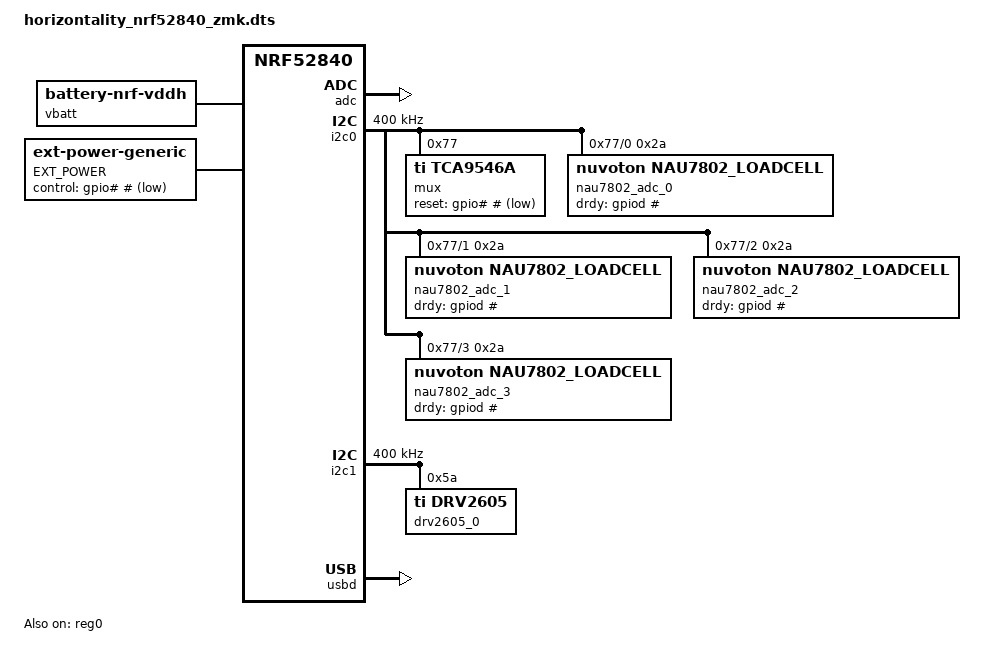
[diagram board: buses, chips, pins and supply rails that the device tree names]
/*
 * Copyright (c) 2021 The ZMK Contributors
 *
 * SPDX-License-Identifier: MIT
 */

/dts-v1/;
#include <nordic/nrf52840_qiaa.dtsi>
#include <common/nordic/nrf52840_uf2_boot_mode.dtsi>

#define OUTPUT_SOURCE_LAYER_STATE_CHANGE        1
#define OUTPUT_SOURCE_POSITION_STATE_CHANGE     2
#define OUTPUT_SOURCE_KEYCODE_STATE_CHANGE      3
#define OUTPUT_SOURCE_MOUSE_BUTTON_STATE_CHANGE 4
#define OUTPUT_SOURCE_MOUSE_WHEEL_STATE_CHANGE  5
#define OUTPUT_SOURCE_TRANSPORT                 6

/ {
    chosen {
        zmk,battery = &vbatt;
    };

    vbatt: vbatt {
        compatible = "zmk,battery-nrf-vddh";
    };

    EXT_POWER {
        compatible = "zmk,ext-power-generic";
        control-gpios = <&gpio# # GPIO_ACTIVE_LOW>;
        init-delay-ms = <50>;
    };

    lra0: output_haptic_fb_0 {
		compatible = "zmk,output-haptic-feedback";
		#binding-cells = <0>;

		driver = "drv2605";
		device = <&drv2605_0>;
	};

    ob_lra0_in {
            compatible = "zmk,output-behavior-generic"; #binding-cells = <0>;
            device = <&lra0>;

            /* Sharp Click - 100% */
            force = <4>;
    };

    ob_lra0_out {
            compatible = "zmk,output-behavior-generic"; #binding-cells = <0>;
            device = <&lra0>;

            /* Soft Bump - 60% */
            force = <8>;
    };

    obl__btn1_in {
        compatible = "zmk,output-behavior-listener";
        layers = < DEFAULT >;
        sources = < OUTPUT_SOURCE_MOUSE_BUTTON_STATE_CHANGE >;

        position = < 1 >;
        bindings = < &ob_lra_in >;

        all-state;
    }

    obl__btn1_out {
        compatible = "zmk,output-behavior-listener";
        layers = < DEFAULT >;
        sources = < OUTPUT_SOURCE_MOUSE_BUTTON_STATE_CHANGE >;

        position = < 0 >;
        bindings = < &ob_lra_out >;

        all-state;
    }

    aliases {
        nau7802_adc_0 = &nau7802_adc_0;
        nau7802_adc_1 = &nau7802_adc_1;
        nau7802_adc_2 = &nau7802_adc_2;
        nau7802_adc_3 = &nau7802_adc_3;
    }
};

&pinctrl {
    i2c0_default: i2c0_default {
        group1 {
            psels = <NRF_PSEL(TWIM_SDA, #, #)>,
                    <NRF_PSEL(TWIM_SCL, #, #)>;
        };
    };

    i2c0_sleep: i2c0_sleep {
        group1 {
            psels = <NRF_PSEL(TWIM_SDA, #, #)>,
                    <NRF_PSEL(TWIM_SCL, #, #)>;
            low-power-enable;
        };
    };

    i2c1_default: i2c1_default {
        group1 {
            psels = <NRF_PSEL(TWIM_SDA, #, #)>,
                    <NRF_PSEL(TWIM_SCL, #, #)>;
        };
    };

    i2c1_sleep: i2c1_sleep {
        group1 {
            psels = <NRF_PSEL(TWIM_SDA, #, #)>,
                    <NRF_PSEL(TWIM_SCL, #, #)>;
            low-power-enable;
        };
    };
};

&reg0 {
    status = "okay";
};

&reg1 {
    regulator-initial-mode = <NRF5X_REG_MODE_DCDC>;
};

&adc {
    status = "okay";
};

&gpiote {
    status = "okay";
};

&gpio0 {
    status = "okay";
};

&gpio1 {
    status = "okay";
};

&i2c0 {
    compatible = "nordic,nrf-twim";
    status = "okay";
    pinctrl-0 = <&i2c0_default>;
    pinctrl-1 = <&i2c0_sleep>;
    pinctrl-names = "default", "sleep";
    clock-frequency = <I2C_BITRATE_FAST>;

    mux: tca9546a@77 {
        compatible = "ti,tca9546a";
        reg = <0x77>;
        status = "okay";
        #address-cells = <1>;
        #size-cells = <0>;
        reset-gpios = <&gpio# # GPIO_ACTIVE_LOW>;

        mux_i2c@0 {
            reg = <0>;
            #address-cells = <1>;
            #size-cells = <0>;

            nau7802_adc_0 {
                compatible = "nuvoton,nau7802_loadcell";
                reg = <0x2A>;
                drdy-gpios = <&gpiod # GPIO_ACTIVE_HIGH>;
                conversions-per-second = <320>; //SPS
                gain = <128>;
            };
        };

        mux_i2c@1 {
            reg = <1>;
            #address-cells = <1>;
            #size-cells = <0>;

            nau7802_adc_1 {
                compatible = "nuvoton,nau7802_loadcell";
                reg = <0x2A>;
                drdy-gpios = <&gpiod # GPIO_ACTIVE_HIGH>;
                conversions-per-second = <320>; //SPS
                gain = <128>;
            };
        };

        mux_i2c@2 {
            reg = <2>;
            #address-cells = <1>;
            #size-cells = <0>;

            nau7802_adc_2 {
                compatible = "nuvoton,nau7802_loadcell";
                reg = <0x2A>;
                drdy-gpios = <&gpiod # GPIO_ACTIVE_HIGH>;
                conversions-per-second = <320>; //SPS
                gain = <128>;
            };
        };

        mux_i2c@3 {
            reg = <3>;
            #address-cells = <1>;
            #size-cells = <0>;

            nau7802_adc_3 {
                compatible = "nuvoton,nau7802_loadcell";
                reg = <0x2A>;
                drdy-gpios = <&gpiod # GPIO_ACTIVE_HIGH>;
                conversions-per-second = <320>; //SPS
                gain = <128>;
            };
        };
    };
};

&i2c1 {
    compatible = "nordic,nrf-twim";
    status = "okay";
    pinctrl-0 = <&i2c1_default>;
    pinctrl-1 = <&i2c1_sleep>;
    pinctrl-names = "default", "sleep";
    clock-frequency = <I2C_BITRATE_FAST>;

    drv2605_0: drv2605@5a {
        compatible = "ti,drv2605";
        reg = <0x5a>;

        library = <6>;
        standby-ms = <1000>;
    };


};

zephyr_udc0: &usbd {
    status = "okay";
};

&flash0 {
    /*
     * For more information, see:
     * http://docs.zephyrproject.org/latest/devices/dts/flash_partitions.html
     */
    partitions {
        compatible = "fixed-partitions";
        #address-cells = <1>;
        #size-cells = <1>;

        sd_partition: partition@0 {
            reg = <0x00000000 0x00026000>;
        };
        code_partition: partition@26000 {
            reg = <0x00026000 0x000c6000>;
        };

        /*
         * The flash starting at 0x000ec000 and ending at
         * 0x000f3fff is reserved for use by the application.
         */

        /*
         * Storage partition will be used by FCB/LittleFS/NVS
         * if enabled.
         */
        storage_partition: partition@ec000 {
            reg = <0x000ec000 0x00008000>;
        };

        boot_partition: partition@f4000 {
            reg = <0x000f4000 0x0000c000>;
        };
    };
};
